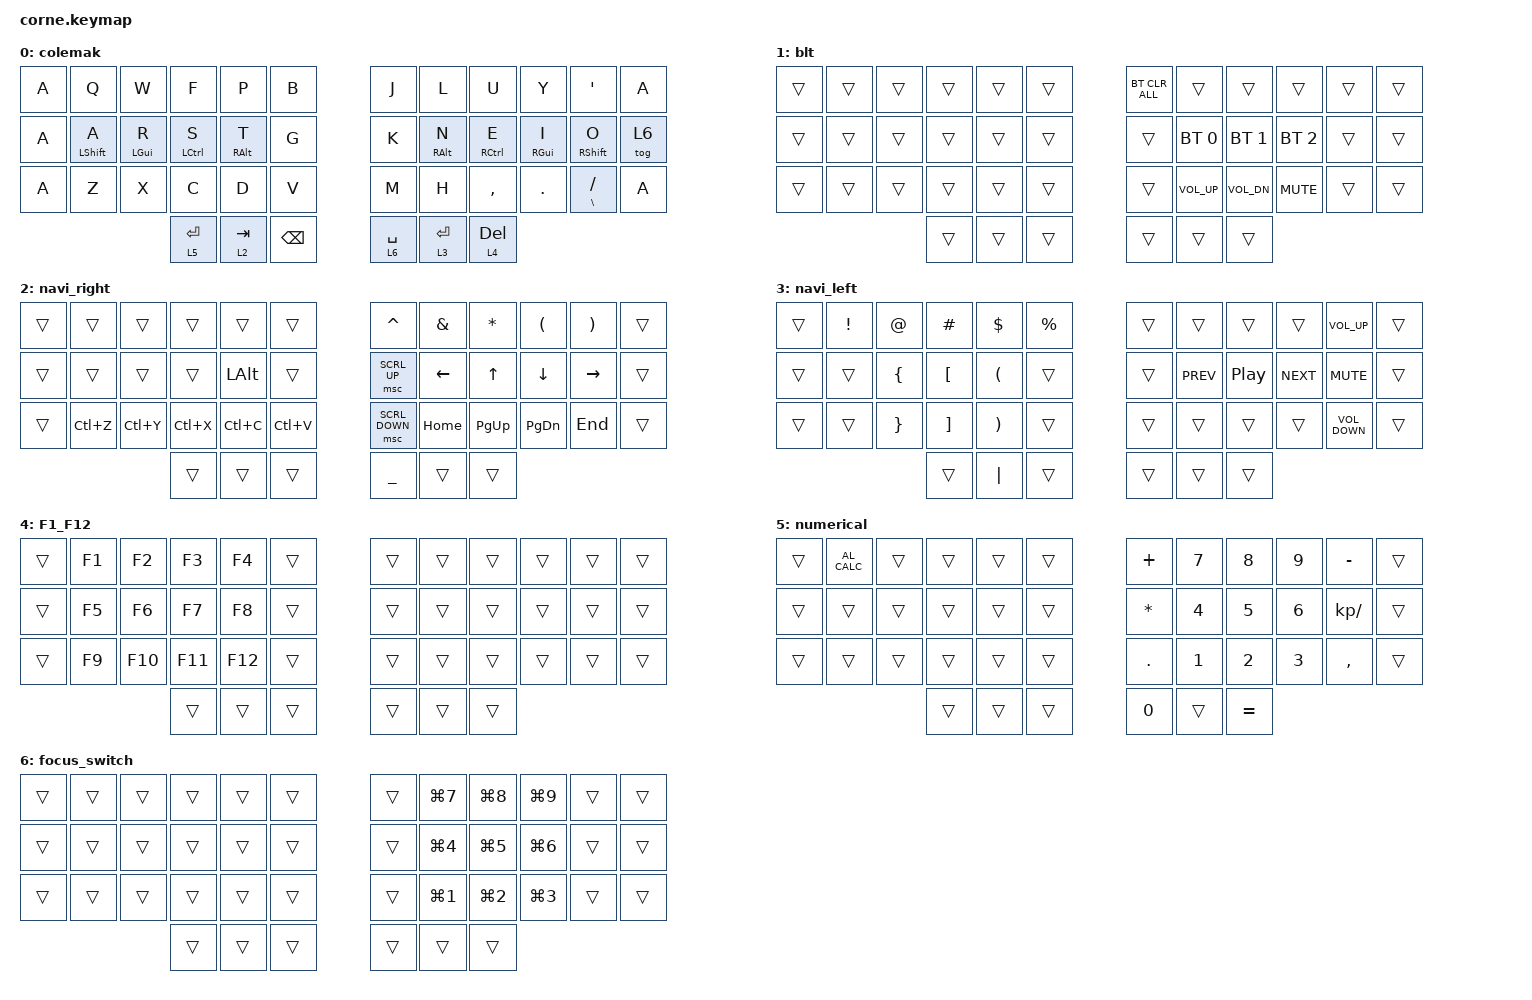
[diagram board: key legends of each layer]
#include <behaviors.dtsi>
#include <dt-bindings/zmk/bt.h>
#include <dt-bindings/zmk/keys.h>
#include <dt-bindings/zmk/pointing.h>
#include <zephyr/dt-bindings/input/input-event-codes.h>

/ {
    behaviors {
        hm: homerow_mods {
            compatible = "zmk,behavior-hold-tap";
            label = "HOMEROW_MODS";
            #binding-cells = <2>;
            /* R, S, E and I: require a deliberate hold before activating
             * their modifier behavior, reducing accidental modifiers while
             * typing rolls. */
            tapping-term-ms = <200>;
            flavor = "tap-preferred";
            bindings = <&kp>, <&kp>;

            global-quick-tap;
            quick-tap-ms = <65>;
        };

        hml: hml {
            compatible = "zmk,behavior-hold-tap";
            label = "HML";
            #binding-cells = <2>;
            tapping-term-ms = <115>;
            flavor = "hold-preferred";
            bindings = <&kp>, <&kp>;

            quick-tap-ms = <60>;
            require-prior-idle-ms = <70>;
            hold-trigger-key-positions = <0 1 5 6 10 11 12 14 15 16 17 18 19 20 21 22 23 24 25 26 27 28 29 30 31 32 33 34 35 36 37 38 39 40 41 7 8 9 2 4 3>;
            hold-trigger-on-release;
        };

        hmr: hmr {
            compatible = "zmk,behavior-hold-tap";
            label = "HMR";
            #binding-cells = <2>;
            tapping-term-ms = <115>;
            flavor = "hold-preferred";
            bindings = <&kp>, <&kp>;

            quick-tap-ms = <60>;
            require-prior-idle-ms = <70>;
            hold-trigger-key-positions = <0 1 5 6 10 11 12 14 15 16 17 18 19 20 21 23 24 25 26 27 28 29 30 31 32 33 34 35 36 37 38 39 40 41 7 8 9 2 4 3 13>;
            hold-trigger-on-release;
        };
    };

    input_processors {
        tps43_desktop_swipe: tps43_desktop_swipe {
            compatible = "zmk,input-processor-behaviors";
            #input-processor-cells = <0>;

            /* Physical swipe left reveals the desktop on the right, and
             * physical swipe right reveals the desktop on the left. Swipe
             * up opens Task View; swipe down shows the desktop. */
            codes = <INPUT_BTN_3 INPUT_BTN_4 INPUT_BTN_5 INPUT_BTN_6>;
            bindings = <
                &kp LC(LG(RIGHT))
                &kp LC(LG(LEFT))
                &kp LG(TAB)
                &kp LG(D)
            >;
        };
    };

    combos {
        compatible = "zmk,combos";

        caps {
            bindings = <&kp CAPSLOCK>;
            key-positions = <13 22>;
        };

        alttab {
            bindings = <&kp LA(TAB)>;
            key-positions = <13 14 15>;
        };

        tilde {
            bindings = <&kp TILDE>;
            key-positions = <1 13>;
        };

        cut {
            bindings = <&kp LC(X)>;
            key-positions = <26 27>;
        };

        copy {
            bindings = <&kp LC(C)>;
            key-positions = <27 28>;
        };

        paste {
            bindings = <&kp LC(V)>;
            key-positions = <28 29>;
        };

        screetshot {
            bindings = <&kp LG(LS(S))>;
            key-positions = <9 10>;
        };

        semicolon {
            bindings = <&kp SEMICOLON>;
            key-positions = <32 33>;
        };

        esc {
            bindings = <&kp ESC>;
            key-positions = <1 2>;
        };

        del {
            bindings = <&kp DELETE>;
            key-positions = <25 28>;
        };

        Combos {
            bindings = <&mo 1>;
            key-positions = <39 38>;
        };

        dash {
            bindings = <&kp MINUS>;
            key-positions = <21 22>;
        };

        altf4 {
            bindings = <&kp LA(F4)>;
            key-positions = <1 2 3>;
        };
    };

    keymap {
        compatible = "zmk,keymap";

        colemak {
            bindings = <
&kp A  &kp Q              &kp W           &kp F        &kp P             &kp B          &kp J        &kp L             &kp U         &kp Y            &kp SQT              &kp A
&kp A  &hml LEFT_SHIFT A  &hm LEFT_GUI R  &hm LCTRL S  &hml RIGHT_ALT T  &kp G          &kp K        &hmr RIGHT_ALT N  &hm RCTRL E   &hm RIGHT_GUI I  &hmr RIGHT_SHIFT O   &tog 6
&kp A  &kp Z              &kp X           &kp C        &kp D             &kp V          &kp M        &kp H             &kp COMMA     &kp DOT          &mt BACKSLASH SLASH  &kp A
                                          &lt 5 ENTER  &lt 2 TAB         &kp BACKSPACE  &lt 6 SPACE  &lt 3 ENTER       &lt 4 DELETE
            >;
        };

        blt {
            bindings = <
&trans  &trans  &trans  &trans  &trans  &trans  &bt BT_CLR_ALL  &trans           &trans        &trans        &trans  &trans
&trans  &trans  &trans  &trans  &trans  &trans  &trans          &bt BT_SEL 0     &bt BT_SEL 1  &bt BT_SEL 2  &trans  &trans
&trans  &trans  &trans  &trans  &trans  &trans  &trans          &kp C_VOLUME_UP  &kp C_VOL_DN  &kp K_MUTE    &trans  &trans
                        &trans  &trans  &trans  &trans          &trans           &trans
            >;
        };

        navi_right {
            bindings = <
&trans  &trans     &trans     &trans     &trans        &trans     &kp CARET       &kp AMPERSAND   &kp ASTERISK  &kp LEFT_PARENTHESIS  &kp RIGHT_PARENTHESIS  &trans
&trans  &trans     &trans     &trans     &kp LEFT_ALT  &trans     &msc SCRL_UP    &kp LEFT_ARROW  &kp UP        &kp DOWN              &kp RIGHT              &trans
&trans  &kp LC(Z)  &kp LC(Y)  &kp LC(X)  &kp LC(C)     &kp LC(V)  &msc SCRL_DOWN  &kp HOME        &kp PG_UP     &kp PG_DN             &kp END                &trans
                              &trans     &trans        &trans     &kp UNDERSCORE  &trans          &trans
            >;
        };

        navi_left {
            bindings = <
&trans  &kp EXCLAMATION  &kp AT_SIGN      &kp HASH           &kp DOLLAR             &kp PERCENT  &trans  &trans      &trans    &trans      &kp C_VOLUME_UP    &trans
&trans  &trans           &kp LEFT_BRACE   &kp LEFT_BRACKET   &kp LEFT_PARENTHESIS   &trans       &trans  &kp C_PREV  &kp C_PP  &kp C_NEXT  &kp C_MUTE         &trans
&trans  &trans           &kp RIGHT_BRACE  &kp RIGHT_BRACKET  &kp RIGHT_PARENTHESIS  &trans       &trans  &trans      &trans    &trans      &kp C_VOLUME_DOWN  &trans
                                          &trans             &kp PIPE               &trans       &trans  &trans      &trans
            >;
        };

        F1_F12 {
            bindings = <
&trans  &kp F1  &kp F2   &kp F3   &kp F4   &trans  &trans  &trans  &trans  &trans  &trans  &trans
&trans  &kp F5  &kp F6   &kp F7   &kp F8   &trans  &trans  &trans  &trans  &trans  &trans  &trans
&trans  &kp F9  &kp F10  &kp F11  &kp F12  &trans  &trans  &trans  &trans  &trans  &trans  &trans
                         &trans   &trans   &trans  &trans  &trans  &trans
            >;
        };

        numerical {
            bindings = <
&trans  &kp C_AL_CALC  &trans  &trans  &trans  &trans  &kp PLUS      &kp N7        &kp NUMBER_8  &kp N9        &kp MINUS     &trans
&trans  &trans         &trans  &trans  &trans  &trans  &kp ASTERISK  &kp NUMBER_4  &kp N5        &kp NUMBER_6  &kp KP_SLASH  &trans
&trans  &trans         &trans  &trans  &trans  &trans  &kp PERIOD    &kp NUMBER_1  &kp NUMBER_2  &kp NUMBER_3  &kp COMMA     &trans
                               &trans  &trans  &trans  &kp NUMBER_0  &trans        &kp EQUAL
            >;
        };

        focus_switch {
            bindings = <
&trans  &trans  &trans  &trans  &trans  &trans  &trans  &kp LG(NUMBER_7)  &kp LG(NUMBER_8)  &kp LG(NUMBER_9)  &trans  &trans
&trans  &trans  &trans  &trans  &trans  &trans  &trans  &kp LG(NUMBER_4)  &kp LG(NUMBER_5)  &kp LG(NUMBER_6)  &trans  &trans
&trans  &trans  &trans  &trans  &trans  &trans  &trans  &kp LG(NUMBER_1)  &kp LG(NUMBER_2)  &kp LG(NUMBER_3)  &trans  &trans
                        &trans  &trans  &trans  &trans  &trans            &trans
            >;
        };
    };
};

&tps43_listener {
    input-processors = <&tps43_desktop_swipe>;
};
